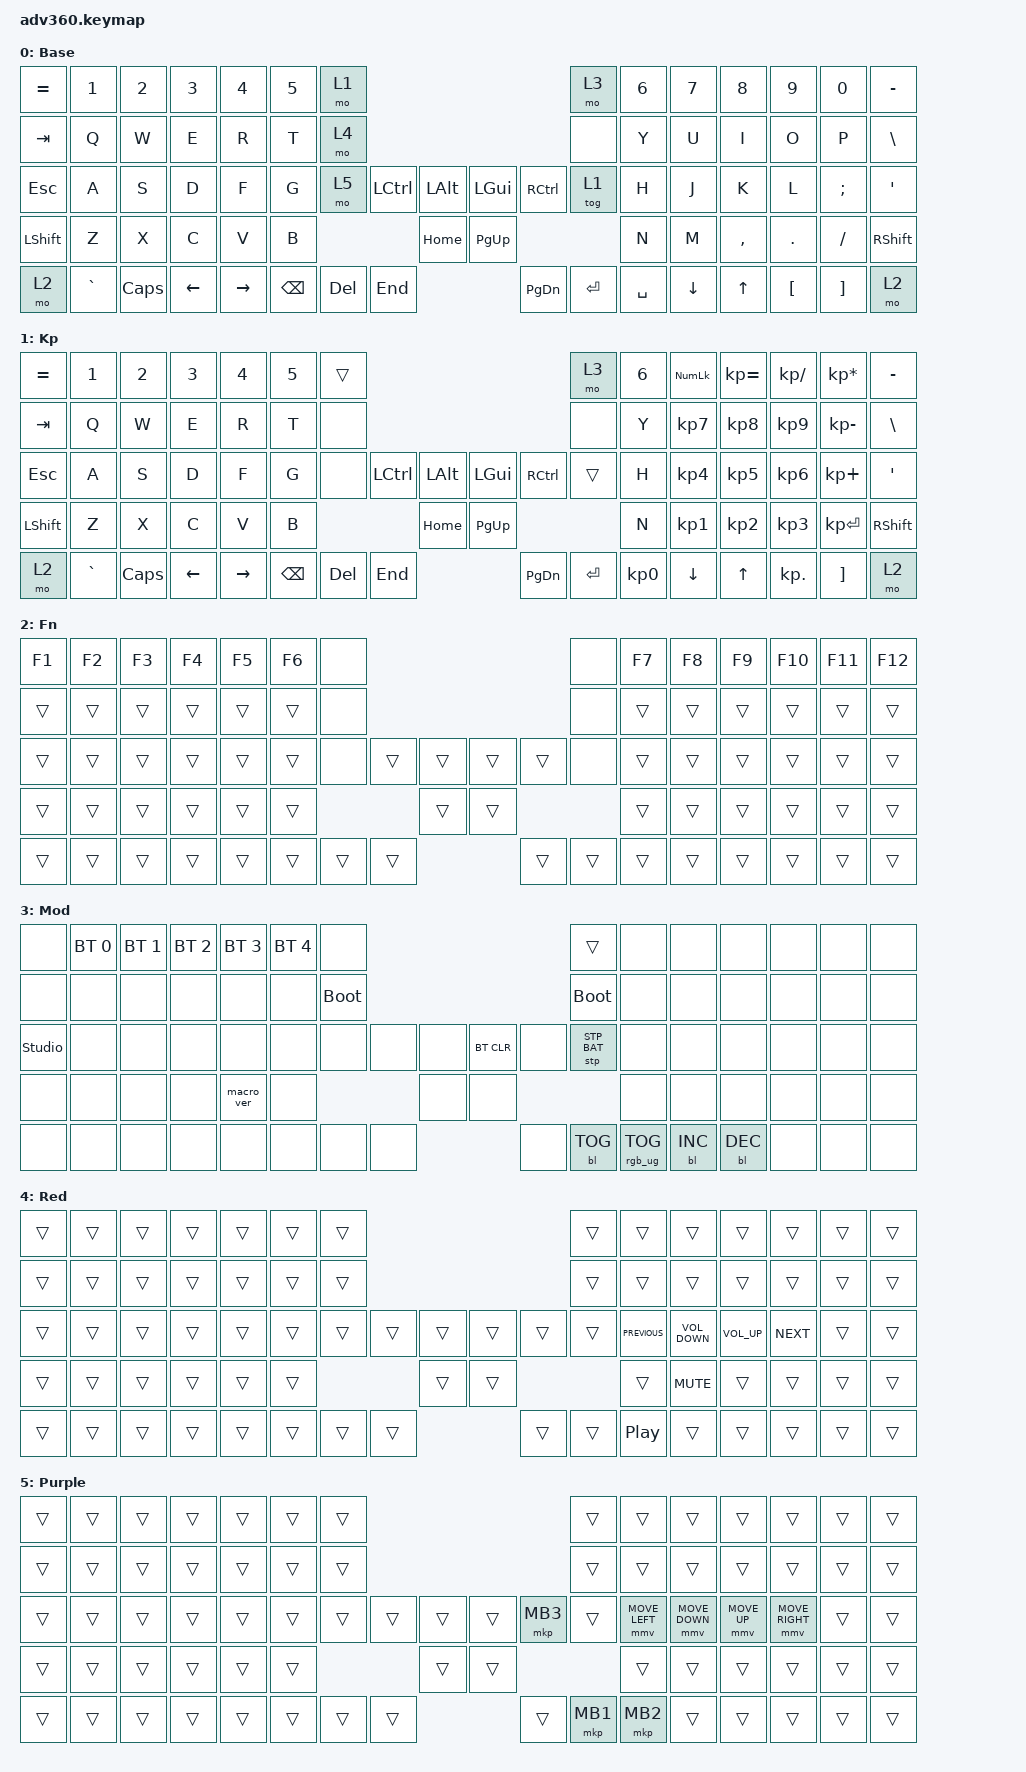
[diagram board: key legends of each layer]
#include <dt-bindings/zmk/stp.h>
#include <behaviors.dtsi>
#include <dt-bindings/zmk/backlight.h>
#include <dt-bindings/zmk/bt.h>
#include <dt-bindings/zmk/keys.h>
#include <dt-bindings/zmk/pointing.h>
#include <dt-bindings/zmk/rgb.h>

/ {
    behaviors {
        #include "macros.dtsi"
      #include "version.dtsi"

        hm: homerow_mods {
            compatible = "zmk,behavior-hold-tap";
            label = "HOMEROW_MODS";
            #binding-cells = <2>;
            tapping-term-ms = <200>;
            quick_tap_ms = <175>;
            flavor = "tap-preferred";
            bindings = <&kp>, <&kp>;
        };
    };

    keymap {
        compatible = "zmk,keymap";

        default_layer {
            display-name = "Base";
            bindings = <
&kp EQUAL  &kp N1     &kp N2    &kp N3    &kp N4     &kp N5  &mo 1                                                                    &mo 3   &kp N6  &kp N7    &kp N8        &kp N9    &kp N0    &kp MINUS
&kp TAB    &kp Q      &kp W     &kp E     &kp R      &kp T   &mo 4                                                                    &none   &kp Y   &kp U     &kp I         &kp O     &kp P     &kp BSLH
&kp ESC    &kp A      &kp S     &kp D     &kp F      &kp G   &mo 5            &kp LCTRL  &kp LALT    &kp LGUI   &kp RCTRL             &tog 1  &kp H   &kp J     &kp K         &kp L     &kp SEMI  &kp SQT
&kp LSHFT  &kp Z      &kp X     &kp C     &kp V      &kp B                               &kp HOME    &kp PG_UP                                &kp N   &kp M     &kp COMMA     &kp DOT   &kp FSLH  &kp RSHFT
&mo 2      &kp GRAVE  &kp CAPS  &kp LEFT  &kp RIGHT                 &kp BSPC  &kp DEL    &kp END     &kp PG_DN  &kp ENTER  &kp SPACE                  &kp DOWN  &kp UP_ARROW  &kp LBKT  &kp RBKT  &mo 2
            >;
        };

        keypad {
            display-name = "Kp";
            bindings = <
&kp EQUAL  &kp N1     &kp N2    &kp N3    &kp N4     &kp N5  &trans                                                                    &mo 3   &kp N6  &kp KP_NUM  &kp KP_EQUAL  &kp KP_DIVIDE  &kp KP_MULTIPLY  &kp MINUS
&kp TAB    &kp Q      &kp W     &kp E     &kp R      &kp T   &none                                                                     &none   &kp Y   &kp KP_N7   &kp KP_N8     &kp KP_N9      &kp KP_MINUS     &kp BSLH
&kp ESC    &kp A      &kp S     &kp D     &kp F      &kp G   &none             &kp LCTRL  &kp LALT    &kp LGUI   &kp RCTRL             &trans  &kp H   &kp KP_N4   &kp KP_N5     &kp KP_N6      &kp KP_PLUS      &kp SQT
&kp LSHFT  &kp Z      &kp X     &kp C     &kp V      &kp B                                &kp HOME    &kp PG_UP                                &kp N   &kp KP_N1   &kp KP_N2     &kp KP_N3      &kp KP_ENTER     &kp RSHFT
&mo 2      &kp GRAVE  &kp CAPS  &kp LEFT  &kp RIGHT                  &kp BSPC  &kp DEL    &kp END     &kp PG_DN  &kp ENTER  &kp KP_N0                  &kp DOWN    &kp UP_ARROW  &kp KP_DOT     &kp RBKT         &mo 2
            >;
        };

        fn {
            display-name = "Fn";
            bindings = <
&kp F1  &kp F2  &kp F3  &kp F4  &kp F5  &kp F6  &none                                                    &none  &kp F7  &kp F8  &kp F9  &kp F10  &kp F11  &kp F12
&trans  &trans  &trans  &trans  &trans  &trans  &none                                                    &none  &trans  &trans  &trans  &trans   &trans   &trans
&trans  &trans  &trans  &trans  &trans  &trans  &none          &trans  &trans    &trans  &trans          &none  &trans  &trans  &trans  &trans   &trans   &trans
&trans  &trans  &trans  &trans  &trans  &trans                         &trans    &trans                         &trans  &trans  &trans  &trans   &trans   &trans
&trans  &trans  &trans  &trans  &trans                 &trans  &trans  &trans    &trans  &trans  &trans                 &trans  &trans  &trans   &trans   &trans
            >;
        };

        mod {
            display-name = "Mod";
            bindings = <
&none           &bt BT_SEL 0  &bt BT_SEL 1  &bt BT_SEL 2  &bt BT_SEL 3  &bt BT_SEL 4  &none                                                                        &trans        &none  &none       &none       &none  &none  &none
&none           &none         &none         &none         &none         &none         &bootloader                                                                  &bootloader   &none  &none       &none       &none  &none  &none
&studio_unlock  &none         &none         &none         &none         &none         &none               &none  &none    &bt BT_CLR  &none                        &stp STP_BAT  &none  &none       &none       &none  &none  &none
&none           &none         &none         &none         &macro_ver    &none                                    &none    &none                                                  &none  &none       &none       &none  &none  &none
&none           &none         &none         &none         &none                                    &none  &none  &none    &none       &bl BL_TOG  &rgb_ug RGB_TOG                       &bl BL_INC  &bl BL_DEC  &none  &none  &none
            >;
        };

        extra1 {
            display-name = "Red";
            bindings = <
&trans  &trans  &trans  &trans  &trans  &trans  &trans                                                              &trans  &trans          &trans             &trans           &trans      &trans  &trans
&trans  &trans  &trans  &trans  &trans  &trans  &trans                                                              &trans  &trans          &trans             &trans           &trans      &trans  &trans
&trans  &trans  &trans  &trans  &trans  &trans  &trans          &trans  &trans    &trans  &trans                    &trans  &kp C_PREVIOUS  &kp C_VOLUME_DOWN  &kp C_VOLUME_UP  &kp C_NEXT  &trans  &trans
&trans  &trans  &trans  &trans  &trans  &trans                          &trans    &trans                                    &trans          &kp C_MUTE         &trans           &trans      &trans  &trans
&trans  &trans  &trans  &trans  &trans                  &trans  &trans  &trans    &trans  &trans  &kp C_PLAY_PAUSE                          &trans             &trans           &trans      &trans  &trans
            >;
        };

        extra2 {
            display-name = "Purple";
            bindings = <
&trans  &trans  &trans  &trans  &trans  &trans  &trans                                                        &trans  &trans          &trans          &trans        &trans           &trans  &trans
&trans  &trans  &trans  &trans  &trans  &trans  &trans                                                        &trans  &trans          &trans          &trans        &trans           &trans  &trans
&trans  &trans  &trans  &trans  &trans  &trans  &trans          &trans  &trans    &trans  &mkp MB3            &trans  &mmv MOVE_LEFT  &mmv MOVE_DOWN  &mmv MOVE_UP  &mmv MOVE_RIGHT  &trans  &trans
&trans  &trans  &trans  &trans  &trans  &trans                          &trans    &trans                              &trans          &trans          &trans        &trans           &trans  &trans
&trans  &trans  &trans  &trans  &trans                  &trans  &trans  &trans    &trans  &mkp MB1  &mkp MB2                          &trans          &trans        &trans           &trans  &trans
            >;
        };

        extra3 {
            display-name = "Cyan";
            status = "reserved";
        };
    };
};
